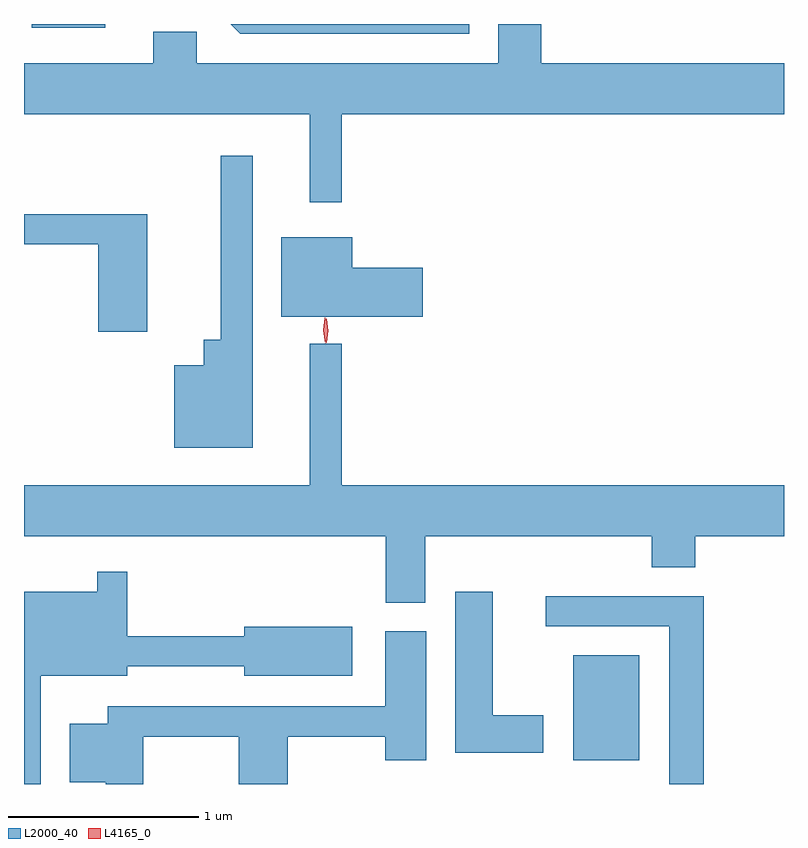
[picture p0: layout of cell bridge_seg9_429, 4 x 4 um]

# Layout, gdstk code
import gdstk
lib = gdstk.Library(unit=1e-6, precision=1e-09)
def R(c, l, rs):  # rectangles x0, y0, x1, y1
    for r in rs: c.add(gdstk.rectangle(r[:2], r[2:], *l))
def P(c, l, *ps):  # polygons
    for p in ps: c.add(gdstk.Polygon(p, *l))
L2000_40 = (2000, 40)
L4165_0 = (4165, 0)

bridge_seg9_429 = lib.new_cell('bridge_seg9_429')
R(bridge_seg9_429, L2000_40, [(389.816,2032.816,390.164,2033.369), (386.966,2036.671,387.353,2036.691)])
P(bridge_seg9_429, L2000_40, [(388.599,2036.216),(390.926,2036.216),(390.926,2036.484),(389.649,2036.484),(389.649,2036.691),(389.421,2036.691),(389.421,2036.484),(387.834,2036.484),(387.834,2036.649),(387.606,2036.649),(387.606,2036.484),(386.926,2036.484),(386.926,2036.216),(388.431,2036.216),(388.431,2035.753),(388.599,2035.753)],
  [(389.269,2036.691),(388.014,2036.691),(388.064,2036.641),(389.269,2036.641)],
  [(388.129,2035.998),(387.961,2035.998),(387.961,2035.029),(387.871,2035.029),(387.871,2034.894),(387.716,2034.894),(387.716,2034.461),(388.129,2034.461)],
  [(387.574,2035.689),(386.926,2035.689),(386.926,2035.531),(387.316,2035.531),(387.316,2035.071),(387.574,2035.071)],
  [(389.024,2035.409),(388.654,2035.409),(388.654,2035.569),(388.281,2035.569),(388.281,2035.151),(389.024,2035.151)],
  [(389.039,2033.996),(390.231,2033.996),(390.231,2033.831),(390.459,2033.831),(390.459,2033.996),(390.926,2033.996),(390.926,2034.264),(388.599,2034.264),(388.599,2035.008),(388.431,2035.008),(388.431,2034.264),(386.926,2034.264),(386.926,2033.996),(388.831,2033.996),(388.831,2033.646),(389.039,2033.646)],
  [(387.014,2033.261),(387.469,2033.261),(387.469,2033.311),(388.086,2033.311),(388.086,2033.261),(388.654,2033.261),(388.654,2033.519),(388.086,2033.519),(388.086,2033.469),(387.469,2033.469),(387.469,2033.808),(387.311,2033.808),(387.311,2033.704),(386.926,2033.704),(386.926,2032.691),(387.014,2032.691)],
  [(389.659,2033.054),(389.394,2033.054),(389.394,2033.704),(389.196,2033.704),(389.196,2032.856),(389.659,2032.856)],
  [(390.504,2033.679),(389.673,2033.679),(389.673,2033.521),(390.321,2033.521),(390.321,2032.691),(390.504,2032.691)],
  [(387.554,2032.941),(388.056,2032.941),(388.056,2032.691),(388.314,2032.691),(388.314,2032.941),(388.826,2032.941),(388.826,2032.816),(389.044,2032.816),(389.044,2033.494),(388.826,2033.494),(388.826,2033.099),(387.366,2033.099),(387.366,2033.009),(387.166,2033.009),(387.166,2032.701),(387.356,2032.701),(387.356,2032.691),(387.554,2032.691)])
P(bridge_seg9_429, L4165_0, [(388.511,2035.01),(388.511,2035.01),(388.501,2035.078),(388.51,2035.145),(388.51,2035.146),(388.511,2035.145),(388.521,2035.078),(388.512,2035.01)],
  [(388.518,2035.013),(388.518,2035.013),(388.508,2035.076),(388.518,2035.139),(388.518,2035.14),(388.519,2035.139),(388.528,2035.076),(388.519,2035.013)])

lib.write_gds('bridge_seg9_429.gds')
